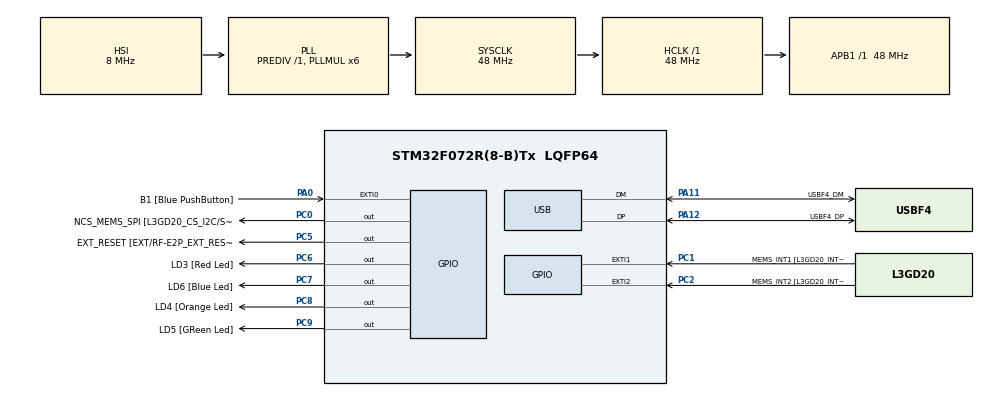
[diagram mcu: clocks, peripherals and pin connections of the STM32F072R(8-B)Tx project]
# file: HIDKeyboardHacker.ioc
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Mcu.Family=STM32F0
Mcu.Name=STM32F072R(8-B)Tx
Mcu.Package=LQFP64
NVIC.USB_IRQn=true\:0\:0\:false\:false\:true\:false\:true\:true
PA0.GPIO_Label=B1 [Blue PushButton]
PA0.GPIO_ModeDefaultEXTI=GPIO_MODE_EVT_RISING
PA0.Signal=GPXTI0
PA11.GPIO_Label=USBF4_DM
PA11.Mode=Device
PA11.Signal=USB_DM
PA12.GPIO_Label=USBF4_DP
PA12.Mode=Device
PA12.Signal=USB_DP
PA13.GPIO_Label=SWDIO
PA13.Mode=Serial_Wire
PA13.Signal=SYS_SWDIO
PA14.GPIO_Label=SWCLK
PA14.Mode=Serial_Wire
PA14.Signal=SYS_SWCLK
PA2.Signal=TSC_G1_IO3
PA3.Signal=TSC_G1_IO4
PA6.Signal=TSC_G2_IO3
PA7.Signal=TSC_G2_IO4
PB0.Signal=TSC_G3_IO2
PB1.Signal=TSC_G3_IO3
PB10.GPIO_Label=I2C2_SCL[EXT/RF-E2P_SCL]
PB10.Signal=I2C2_SCL
PB11.GPIO_Label=I2C2_SDA[EXT/RF-E2P_SDA]
PB11.Signal=I2C2_SDA
PB13.GPIO_Label=SPI2_SCK [L3GD20_SCL/SPC]
PB13.Signal=SPI2_SCK
PB14.GPIO_Label=SPI2_MISO [L3GD20_SDO]
PB14.Signal=SPI2_MISO
PB15.GPIO_Label=SPI2_MOSI [L3GD20_SDA/SDI]
PB15.Signal=SPI2_MOSI
PC0.GPIO_Label=NCS_MEMS_SPI [L3GD20_CS_I2C/SPI]
PC0.Signal=GPIO_Output
PC1.GPIO_Label=MEMS_INT1 [L3GD20_INT1]
PC1.GPIO_ModeDefaultEXTI=GPIO_MODE_EVT_RISING
PC1.Signal=GPXTI1
PC2.GPIO_Label=MEMS_INT2 [L3GD20_INT2]
PC2.GPIO_ModeDefaultEXTI=GPIO_MODE_EVT_RISING
PC2.Signal=GPXTI2
PC5.GPIO_Label=EXT_RESET [EXT/RF-E2P_EXT_RESET]
PC5.Signal=GPIO_Output
PC6.GPIO_Label=LD3 [Red Led]
PC6.Signal=GPIO_Output
PC7.GPIO_Label=LD6 [Blue Led]
PC7.Signal=GPIO_Output
PC8.GPIO_Label=LD4 [Orange Led]
PC8.Signal=GPIO_Output
PC9.GPIO_Label=LD5 [GReen Led]
PC9.Signal=GPIO_Output
ProjectManager.HeapSize=0x200
ProjectManager.StackSize=0x400
ProjectManager.TargetToolchain=MDK-ARM V5.32
RCC.AHBFreq_Value=48000000
RCC.APB1Freq_Value=48000000
RCC.APB1TimFreq_Value=48000000
RCC.HCLKFreq_Value=48000000
RCC.PLLMUL=RCC_PLL_MUL6
RCC.SYSCLKFreq_VALUE=48000000
RCC.SYSCLKSource=RCC_SYSCLKSOURCE_PLLCLK
USB_DEVICE.CLASS_NAME_FS=HID
USB_DEVICE.PRODUCT_STRING_HID_FS=HIDKeyboardHacker
USB_DEVICE.VirtualMode=Hid
USB_DEVICE.VirtualModeFS=Hid_FS
VP_USB_DEVICE_VS_USB_DEVICE_HID_FS.Mode=HID_FS
board=STM32F072B-DISCO

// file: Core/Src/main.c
/* USER CODE BEGIN Header */
/**
 ******************************************************************************
 * @file           : main.c
 * @brief          : Main program body
 ******************************************************************************
 * @attention
 *
 * Copyright (c) 2022 STMicroelectronics.
 * All rights reserved.
 *
 * This software is licensed under terms that can be found in the LICENSE file
 * in the root directory of this software component.
 * If no LICENSE file comes with this software, it is provided AS-IS.
 *
 ******************************************************************************
 */
/* USER CODE END Header */
#include "main.h"
#include "usb_device.h"

/* USER CODE BEGIN Includes */
#include "usbd_hid.h"
/* USER CODE END Includes */

/* USER CODE BEGIN PV */

extern USBD_HandleTypeDef hUsbDeviceFS;

typedef struct {
    uint8_t modifier;
    uint8_t reserved;
    uint8_t keycode1;
    uint8_t keycode2;
    uint8_t keycode3;
    uint8_t keycode4;
    uint8_t keycode5;
    uint8_t keycode6;
} hid_keyboard;

hid_keyboard i_hid_keyboard = {0, 0, 0, 0, 0, 0, 0, 0};

/* USER CODE END PV */

void SystemClock_Config(void);
static void MX_GPIO_Init(void);

/* USER CODE BEGIN 0 */

void press_key(uint8_t modifier, uint8_t keycode1) {
    i_hid_keyboard.modifier = modifier;
    i_hid_keyboard.keycode1 = keycode1;
    USBD_HID_SendReport(&hUsbDeviceFS, (uint8_t *)&i_hid_keyboard, sizeof(i_hid_keyboard));
    HAL_Delay(25);
    i_hid_keyboard.modifier = 0;
    i_hid_keyboard.keycode1 = 0;
    USBD_HID_SendReport(&hUsbDeviceFS, (uint8_t *)&i_hid_keyboard, sizeof(i_hid_keyboard));
    HAL_Delay(25);
}

/* USER CODE END 0 */

int main(void) {

    /* MCU Configuration--------------------------------------------------------*/

    /* Reset of all peripherals, Initializes the Flash interface and the Systick. */
    HAL_Init();

    /* Configure the system clock */
    SystemClock_Config();

    /* Initialize all configured peripherals */
    MX_GPIO_Init();
    MX_USB_DEVICE_Init();
    /* USER CODE BEGIN 2 */

    HAL_Delay(500);

    // Turn volume up
    for (int i = 0; i < 15; i++) {
        press_key(0, 0x80); // Volume Up Key
    }

    press_key(1 << 0x03, 0x2C); // CMD + SPACEBAR
    HAL_Delay(500);
    press_key(0, 0x17); // t
    press_key(0, 0x08); // e
    press_key(0, 0x15); // r
    press_key(0, 0x10); // m
    press_key(0, 0x0C); // i
    press_key(0, 0x11); // n
    press_key(0, 0x04); // a
    press_key(0, 0x0F); // l

    press_key(0, 0x28); // RETURN

    HAL_Delay(2000);
    press_key(0, 0x16); // s
    press_key(0, 0x04); // a
    press_key(0, 0x1C); // y
    press_key(0, 0x2C); // SPACEBAR
    press_key(0, 0x1C); // y
    press_key(0, 0x12); // o
    press_key(0, 0x18); // u
    press_key(0, 0x2C); // SPACEBAR
    press_key(0, 0x0D); // j
    press_key(0, 0x18); // u
    press_key(0, 0x16); // s
    press_key(0, 0x17); // t
    press_key(0, 0x2C); // SPACEBAR
    press_key(0, 0x0A); // g
    press_key(0, 0x12); // o
    press_key(0, 0x17); // t
    press_key(0, 0x2C); // SPACEBAR
    press_key(0, 0x0B); // h
    press_key(0, 0x04); // a
    press_key(0, 0x06); // c
    press_key(0, 0x0E); // k
    press_key(0, 0x08); // e
    press_key(0, 0x07); // d
    press_key(0, 0x2C); // SPACEBAR
    press_key(0, 0x11); // n
    press_key(0, 0x08); // e
    press_key(0, 0x15); // r
    press_key(0, 0x07); // d
    press_key(0, 0x28); // RETURN*/

    HAL_Delay(2250);
    press_key(1 << 0x03, 0x14); // CMD + Q

    /* USER CODE END 2 */

    /* Infinite loop */
    while (1) {

    }
}

void SystemClock_Config(void) {
    RCC_OscInitTypeDef RCC_OscInitStruct = {0};
    RCC_ClkInitTypeDef RCC_ClkInitStruct = {0};
    RCC_PeriphCLKInitTypeDef PeriphClkInit = {0};

    /** Initializes the RCC Oscillators according to the specified parameters
     * in the RCC_OscInitTypeDef structure.
     */
    RCC_OscInitStruct.OscillatorType = RCC_OSCILLATORTYPE_HSI | RCC_OSCILLATORTYPE_HSI48;
    RCC_OscInitStruct.HSIState = RCC_HSI_ON;
    RCC_OscInitStruct.HSI48State = RCC_HSI48_ON;
    RCC_OscInitStruct.HSICalibrationValue = RCC_HSICALIBRATION_DEFAULT;
    RCC_OscInitStruct.PLL.PLLState = RCC_PLL_ON;
    RCC_OscInitStruct.PLL.PLLSource = RCC_PLLSOURCE_HSI;
    RCC_OscInitStruct.PLL.PLLMUL = RCC_PLL_MUL6;
    RCC_OscInitStruct.PLL.PREDIV = RCC_PREDIV_DIV1;
    if (HAL_RCC_OscConfig(&RCC_OscInitStruct) != HAL_OK) {
        Error_Handler();
    }

    /** Initializes the CPU, AHB and APB buses clocks
     */
    RCC_ClkInitStruct.ClockType = RCC_CLOCKTYPE_HCLK | RCC_CLOCKTYPE_SYSCLK | RCC_CLOCKTYPE_PCLK1;
    RCC_ClkInitStruct.SYSCLKSource = RCC_SYSCLKSOURCE_PLLCLK;
    RCC_ClkInitStruct.AHBCLKDivider = RCC_SYSCLK_DIV1;
    RCC_ClkInitStruct.APB1CLKDivider = RCC_HCLK_DIV1;

    if (HAL_RCC_ClockConfig(&RCC_ClkInitStruct, FLASH_LATENCY_1) != HAL_OK) {
        Error_Handler();
    }
    PeriphClkInit.PeriphClockSelection = RCC_PERIPHCLK_USB;
    PeriphClkInit.UsbClockSelection = RCC_USBCLKSOURCE_HSI48;

    if (HAL_RCCEx_PeriphCLKConfig(&PeriphClkInit) != HAL_OK) {
        Error_Handler();
    }
}

static void MX_GPIO_Init(void) {
    GPIO_InitTypeDef GPIO_InitStruct = {0};

    /* GPIO Ports Clock Enable */
    __HAL_RCC_GPIOC_CLK_ENABLE();
    __HAL_RCC_GPIOA_CLK_ENABLE();
    __HAL_RCC_GPIOB_CLK_ENABLE();

    /*Configure GPIO pin Output Level */
    HAL_GPIO_WritePin(GPIOC, NCS_MEMS_SPI_Pin | EXT_RESET_Pin | LD3_Pin | LD6_Pin | LD4_Pin | LD5_Pin, GPIO_PIN_RESET);

    /*Configure GPIO pins : NCS_MEMS_SPI_Pin EXT_RESET_Pin LD3_Pin LD6_Pin
                             LD4_Pin LD5_Pin */
    GPIO_InitStruct.Pin = NCS_MEMS_SPI_Pin | EXT_RESET_Pin | LD3_Pin | LD6_Pin | LD4_Pin | LD5_Pin;
    GPIO_InitStruct.Mode = GPIO_MODE_OUTPUT_PP;
    GPIO_InitStruct.Pull = GPIO_NOPULL;
    GPIO_InitStruct.Speed = GPIO_SPEED_FREQ_LOW;
    HAL_GPIO_Init(GPIOC, &GPIO_InitStruct);

    /*Configure GPIO pins : MEMS_INT1_Pin MEMS_INT2_Pin */
    GPIO_InitStruct.Pin = MEMS_INT1_Pin | MEMS_INT2_Pin;
    GPIO_InitStruct.Mode = GPIO_MODE_EVT_RISING;
    GPIO_InitStruct.Pull = GPIO_NOPULL;
    HAL_GPIO_Init(GPIOC, &GPIO_InitStruct);

    /*Configure GPIO pin : B1_Pin */
    GPIO_InitStruct.Pin = B1_Pin;
    GPIO_InitStruct.Mode = GPIO_MODE_EVT_RISING;
    GPIO_InitStruct.Pull = GPIO_NOPULL;
    HAL_GPIO_Init(B1_GPIO_Port, &GPIO_InitStruct);

    /*Configure GPIO pins : PA2 PA3 PA6 PA7 */
    GPIO_InitStruct.Pin = GPIO_PIN_2 | GPIO_PIN_3 | GPIO_PIN_6 | GPIO_PIN_7;
    GPIO_InitStruct.Mode = GPIO_MODE_AF_PP;
    GPIO_InitStruct.Pull = GPIO_NOPULL;
    GPIO_InitStruct.Speed = GPIO_SPEED_FREQ_LOW;
    GPIO_InitStruct.Alternate = GPIO_AF3_TSC;
    HAL_GPIO_Init(GPIOA, &GPIO_InitStruct);

    /*Configure GPIO pins : PB0 PB1 */
    GPIO_InitStruct.Pin = GPIO_PIN_0 | GPIO_PIN_1;
    GPIO_InitStruct.Mode = GPIO_MODE_AF_PP;
    GPIO_InitStruct.Pull = GPIO_NOPULL;
    GPIO_InitStruct.Speed = GPIO_SPEED_FREQ_LOW;
    GPIO_InitStruct.Alternate = GPIO_AF3_TSC;
    HAL_GPIO_Init(GPIOB, &GPIO_InitStruct);

    /*Configure GPIO pins : I2C2_SCL_Pin I2C2_SDA_Pin */
    GPIO_InitStruct.Pin = I2C2_SCL_Pin | I2C2_SDA_Pin;
    GPIO_InitStruct.Mode = GPIO_MODE_AF_OD;
    GPIO_InitStruct.Pull = GPIO_NOPULL;
    GPIO_InitStruct.Speed = GPIO_SPEED_FREQ_HIGH;
    GPIO_InitStruct.Alternate = GPIO_AF1_I2C2;
    HAL_GPIO_Init(GPIOB, &GPIO_InitStruct);

    /*Configure GPIO pins : SPI2_SCK_Pin SPI2_MISO_Pin SPI2_MOSI_Pin */
    GPIO_InitStruct.Pin = SPI2_SCK_Pin | SPI2_MISO_Pin | SPI2_MOSI_Pin;
    GPIO_InitStruct.Mode = GPIO_MODE_AF_PP;
    GPIO_InitStruct.Pull = GPIO_NOPULL;
    GPIO_InitStruct.Speed = GPIO_SPEED_FREQ_HIGH;
    GPIO_InitStruct.Alternate = GPIO_AF0_SPI2;
    HAL_GPIO_Init(GPIOB, &GPIO_InitStruct);
}

void Error_Handler(void) {
    __disable_irq();
    while (1) {
    }
}
